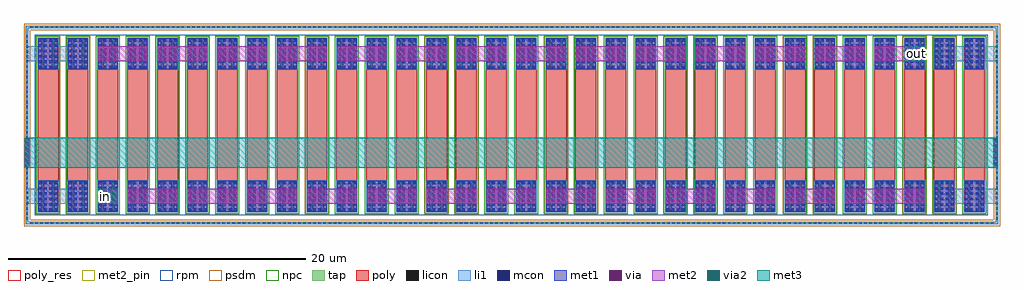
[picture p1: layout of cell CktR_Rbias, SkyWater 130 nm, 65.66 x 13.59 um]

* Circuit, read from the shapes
.subckt CktR_Rbias in out
XR1 VSUBS VSUBS VSUBS sky130_fd_pr__res_high_po w=1.41 l=7.48 m=4
XR2 n1 in VSUBS sky130_fd_pr__res_high_po w=1.41 l=7.48
XR3 n1 n2 VSUBS sky130_fd_pr__res_high_po w=1.41 l=7.48
XR4 n3 n2 VSUBS sky130_fd_pr__res_high_po w=1.41 l=7.48
XR5 n3 n4 VSUBS sky130_fd_pr__res_high_po w=1.41 l=7.48
XR6 n5 n4 VSUBS sky130_fd_pr__res_high_po w=1.41 l=7.48
XR7 n5 n6 VSUBS sky130_fd_pr__res_high_po w=1.41 l=7.48
XR8 n7 n6 VSUBS sky130_fd_pr__res_high_po w=1.41 l=7.48
XR9 n7 n8 VSUBS sky130_fd_pr__res_high_po w=1.41 l=7.48
XR10 n9 n8 VSUBS sky130_fd_pr__res_high_po w=1.41 l=7.48
XR11 n9 n10 VSUBS sky130_fd_pr__res_high_po w=1.41 l=7.48
XR12 n11 n10 VSUBS sky130_fd_pr__res_high_po w=1.41 l=7.48
XR13 n11 n12 VSUBS sky130_fd_pr__res_high_po w=1.41 l=7.48
XR14 n13 n12 VSUBS sky130_fd_pr__res_high_po w=1.41 l=7.48
XR15 n13 n14 VSUBS sky130_fd_pr__res_high_po w=1.41 l=7.48
XR16 n15 n14 VSUBS sky130_fd_pr__res_high_po w=1.41 l=7.48
XR17 n15 n16 VSUBS sky130_fd_pr__res_high_po w=1.41 l=7.48
XR18 n17 n16 VSUBS sky130_fd_pr__res_high_po w=1.41 l=7.48
XR19 n17 n18 VSUBS sky130_fd_pr__res_high_po w=1.41 l=7.48
XR20 n19 n18 VSUBS sky130_fd_pr__res_high_po w=1.41 l=7.48
XR21 n19 n20 VSUBS sky130_fd_pr__res_high_po w=1.41 l=7.48
XR22 n21 n20 VSUBS sky130_fd_pr__res_high_po w=1.41 l=7.48
XR23 n21 n22 VSUBS sky130_fd_pr__res_high_po w=1.41 l=7.48
XR24 n23 n22 VSUBS sky130_fd_pr__res_high_po w=1.41 l=7.48
XR25 n23 n24 VSUBS sky130_fd_pr__res_high_po w=1.41 l=7.48
XR26 n25 n24 VSUBS sky130_fd_pr__res_high_po w=1.41 l=7.48
XR27 n25 n26 VSUBS sky130_fd_pr__res_high_po w=1.41 l=7.48
XR28 out n26 VSUBS sky130_fd_pr__res_high_po w=1.41 l=7.48 m=2
.ends

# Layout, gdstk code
import gdstk
lib = gdstk.Library(unit=1e-6, precision=1e-09)
def R(c, l, rs):  # rectangles x0, y0, x1, y1
    for r in rs: c.add(gdstk.rectangle(r[:2], r[2:], *l))
def A(c, l, x, y, w, h, nx, ny, dx, dy):  # array of equal rectangles
    R(c, l, [(x+i*dx, y+j*dy, x+i*dx+w, y+j*dy+h) for i in range(nx) for j in range(ny)])
tap = (65, 44)
poly_res = (66, 13)
poly = (66, 20)
licon = (66, 44)
li1 = (67, 20)
mcon = (67, 44)
met1 = (68, 20)
via = (68, 44)
met2_pin = (69, 16)
met2 = (69, 20)
via2 = (69, 44)
met3 = (70, 20)
rpm = (86, 20)
psdm = (94, 20)
npc = (95, 20)

res_high_po_1p41 = lib.new_cell('res_high_po_1p41')
R(res_high_po_1p41, poly_res, [(-0.705,-3.8,0.705,3.8)])
R(res_high_po_1p41, poly, [(-0.705,-5.88,0.705,5.88)])
R(res_high_po_1p41, licon, [(-0.45,-5.8,-0.26,-3.8), (0.26,-5.8,0.45,-3.8), (-0.45,3.8,-0.26,5.8), (0.26,3.8,0.45,5.8)])
R(res_high_po_1p41, li1, [(-0.705,-5.88,0.705,-3.72), (-0.705,3.72,0.705,5.88)])
A(res_high_po_1p41, mcon, -0.625, -5.785, 0.17, 0.17, 4, 6, 0.36, 0.36)
A(res_high_po_1p41, mcon, -0.625, 3.81, 0.17, 0.17, 4, 6, 0.36, 0.36)
R(res_high_po_1p41, met1, [(-0.655,-5.85,0.655,-3.745), (-0.655,3.745,0.655,5.85)])
R(res_high_po_1p41, rpm, [(-0.905,-6.08,0.905,6.08)])
R(res_high_po_1p41, psdm, [(-0.815,-5.99,0.815,5.99)])
R(res_high_po_1p41, npc, [(-0.8,-5.975,0.8,5.975)])

m2m3_c_cdns_716484811064 = lib.new_cell('M2M3_C_CDNS_7164848110640')
R(m2m3_c_cdns_716484811064, met2, [(-0.145,-1,0.145,1)])
A(m2m3_c_cdns_716484811064, via2, -0.1, -0.9, 0.2, 0.2, 1, 5, 0, 0.4)
R(m2m3_c_cdns_716484811064, met3, [(-0.165,-1,0.165,1)])

m1m2_c_cdns_716484811063 = lib.new_cell('M1M2_C_CDNS_7164848110638')
R(m1m2_c_cdns_716484811063, met1, [(-0.145,-1,0.145,1)])
A(m1m2_c_cdns_716484811063, via, -0.075, -0.875, 0.15, 0.15, 1, 6, 0, 0.32)
R(m1m2_c_cdns_716484811063, met2, [(-0.145,-1,0.145,1)])

l1m1_c_cdns_716484811061 = lib.new_cell('L1M1_C_CDNS_71648481106106')
R(l1m1_c_cdns_716484811061, li1, [(-0.085,-1,0.085,1)])
A(l1m1_c_cdns_716484811061, mcon, -0.085, -0.805, 0.17, 0.17, 1, 5, 0, 0.36)
R(l1m1_c_cdns_716484811061, met1, [(-0.115,-1,0.115,1)])

m1m2_c_cdns_716484811061 = lib.new_cell('M1M2_C_CDNS_71648481106105')
R(m1m2_c_cdns_716484811061, met1, [(-0.655,-0.5,0.655,0.5)])
A(m1m2_c_cdns_716484811061, via, -0.555, -0.395, 0.15, 0.15, 4, 3, 0.32, 0.32)
R(m1m2_c_cdns_716484811061, met2, [(-0.655,-0.5,0.655,0.5)])

m2m3_c_cdns_716484811061 = lib.new_cell('M2M3_C_CDNS_71648481106104')
R(m2m3_c_cdns_716484811061, met2, [(-0.655,-0.5,0.655,0.5)])
A(m2m3_c_cdns_716484811061, via2, -0.5, -0.3, 0.2, 0.2, 3, 2, 0.4, 0.4)
R(m2m3_c_cdns_716484811061, met3, [(-0.655,-0.5,0.655,0.5)])

cktr_rbias = lib.new_cell('CktR_Rbias')
R(cktr_rbias, tap, [(0.125,0.125,65.53,0.295), (0.125,0.295,0.295,13.295), (65.36,0.295,65.53,13.295), (0.125,13.295,65.53,13.465)])
A(cktr_rbias, licon, 0.425, 0.125, 0.17, 0.17, 191, 2, 0.34, 13.17)
A(cktr_rbias, licon, 0.125, 0.425, 0.17, 0.17, 1, 37, 0, 0.34)
A(cktr_rbias, licon, 65.36, 0.425, 0.17, 0.17, 1, 37, 0, 0.34)
R(cktr_rbias, li1, [(0.125,0.125,65.53,0.295), (0.125,0.295,0.295,1.495), (65.36,0.295,65.53,1.495), (0.125,1.495,4.335,2.495), (61.215,1.495,65.53,2.495), (0.125,2.495,0.295,11.095), (65.36,2.495,65.53,11.095), (0.125,11.095,4.335,12.095), (61.215,11.095,65.53,12.095), (0.125,12.095,0.295,13.295), (65.36,12.095,65.53,13.295), (0.125,13.295,65.53,13.465)])
R(cktr_rbias, met2_pin, [(4.985,1.5,5.985,2.5), (59.565,11.095,60.565,12.095)])
A(cktr_rbias, met2, 6.995, 1.5, 3.32, 1, 12, 1, 4.02, 0)
A(cktr_rbias, met2, 4.985, 11.095, 3.32, 1, 14, 1, 4.02, 0)
R(cktr_rbias, met2, [(4.985,1.5,6.295,2.5), (55.235,1.5,60.565,2.5)])
R(cktr_rbias, met3, [(0.045,3.935,65.505,5.935)])
A(cktr_rbias, rpm, 2.525, 0.715, 0.2, 12.16, 31, 1, 2.01, 0)
R(cktr_rbias, psdm, [(0,0,65.655,0.42), (0,0.42,0.42,13.17), (65.235,0.42,65.655,13.17), (0,13.17,65.655,13.59)])
cktr_rbias.add(gdstk.Reference(res_high_po_1p41, (1.62,6.795)))
cktr_rbias.add(gdstk.Reference(m2m3_c_cdns_716484811064, (0.21,4.935)))
cktr_rbias.add(gdstk.Reference(m1m2_c_cdns_716484811063, (0.21,4.935)))
cktr_rbias.add(gdstk.Reference(l1m1_c_cdns_716484811061, (0.21,4.935)))
cktr_rbias.add(gdstk.Reference(res_high_po_1p41, (3.63,6.795)))
cktr_rbias.add(gdstk.Reference(res_high_po_1p41, (5.64,6.795), x_reflection=True))
cktr_rbias.add(gdstk.Reference(m1m2_c_cdns_716484811061, (5.64,2)))
cktr_rbias.add(gdstk.Reference(m1m2_c_cdns_716484811061, (5.64,11.595)))
cktr_rbias.add(gdstk.Reference(m2m3_c_cdns_716484811061, (5.64,2)))
cktr_rbias.add(gdstk.Reference(res_high_po_1p41, (7.65,6.795)))
cktr_rbias.add(gdstk.Reference(m1m2_c_cdns_716484811061, (7.65,2)))
cktr_rbias.add(gdstk.Reference(m1m2_c_cdns_716484811061, (7.65,11.595)))
cktr_rbias.add(gdstk.Reference(res_high_po_1p41, (9.66,6.795), x_reflection=True))
cktr_rbias.add(gdstk.Reference(m1m2_c_cdns_716484811061, (9.66,2)))
cktr_rbias.add(gdstk.Reference(m1m2_c_cdns_716484811061, (9.66,11.595)))
cktr_rbias.add(gdstk.Reference(res_high_po_1p41, (11.67,6.795), x_reflection=True))
cktr_rbias.add(gdstk.Reference(m1m2_c_cdns_716484811061, (11.67,2)))
cktr_rbias.add(gdstk.Reference(m1m2_c_cdns_716484811061, (11.67,11.595)))
cktr_rbias.add(gdstk.Reference(res_high_po_1p41, (13.68,6.795), x_reflection=True))
cktr_rbias.add(gdstk.Reference(m1m2_c_cdns_716484811061, (13.68,2)))
cktr_rbias.add(gdstk.Reference(m1m2_c_cdns_716484811061, (13.68,11.595)))
cktr_rbias.add(gdstk.Reference(res_high_po_1p41, (15.69,6.795), x_reflection=True))
cktr_rbias.add(gdstk.Reference(m1m2_c_cdns_716484811061, (15.69,2)))
cktr_rbias.add(gdstk.Reference(m1m2_c_cdns_716484811061, (15.69,11.595)))
cktr_rbias.add(gdstk.Reference(res_high_po_1p41, (17.7,6.795)))
cktr_rbias.add(gdstk.Reference(m1m2_c_cdns_716484811061, (17.7,2)))
cktr_rbias.add(gdstk.Reference(m1m2_c_cdns_716484811061, (17.7,11.595)))
cktr_rbias.add(gdstk.Reference(res_high_po_1p41, (19.71,6.795), x_reflection=True))
cktr_rbias.add(gdstk.Reference(m1m2_c_cdns_716484811061, (19.71,2)))
cktr_rbias.add(gdstk.Reference(m1m2_c_cdns_716484811061, (19.71,11.595)))
cktr_rbias.add(gdstk.Reference(res_high_po_1p41, (21.72,6.795)))
cktr_rbias.add(gdstk.Reference(m1m2_c_cdns_716484811061, (21.72,2)))
cktr_rbias.add(gdstk.Reference(m1m2_c_cdns_716484811061, (21.72,11.595)))
cktr_rbias.add(gdstk.Reference(res_high_po_1p41, (23.73,6.795), x_reflection=True))
cktr_rbias.add(gdstk.Reference(m1m2_c_cdns_716484811061, (23.73,2)))
cktr_rbias.add(gdstk.Reference(m1m2_c_cdns_716484811061, (23.73,11.595)))
cktr_rbias.add(gdstk.Reference(res_high_po_1p41, (25.74,6.795)))
cktr_rbias.add(gdstk.Reference(m1m2_c_cdns_716484811061, (25.74,2)))
cktr_rbias.add(gdstk.Reference(m1m2_c_cdns_716484811061, (25.74,11.595)))
cktr_rbias.add(gdstk.Reference(res_high_po_1p41, (27.75,6.795), x_reflection=True))
cktr_rbias.add(gdstk.Reference(m1m2_c_cdns_716484811061, (27.75,2)))
cktr_rbias.add(gdstk.Reference(m1m2_c_cdns_716484811061, (27.75,11.595)))
cktr_rbias.add(gdstk.Reference(res_high_po_1p41, (29.76,6.795)))
cktr_rbias.add(gdstk.Reference(m1m2_c_cdns_716484811061, (29.76,2)))
cktr_rbias.add(gdstk.Reference(m1m2_c_cdns_716484811061, (29.76,11.595)))
cktr_rbias.add(gdstk.Reference(res_high_po_1p41, (31.77,6.795), x_reflection=True))
cktr_rbias.add(gdstk.Reference(m1m2_c_cdns_716484811061, (31.77,2)))
cktr_rbias.add(gdstk.Reference(m1m2_c_cdns_716484811061, (31.77,11.595)))
cktr_rbias.add(gdstk.Reference(res_high_po_1p41, (33.78,6.795)))
cktr_rbias.add(gdstk.Reference(m1m2_c_cdns_716484811061, (33.78,2)))
cktr_rbias.add(gdstk.Reference(m1m2_c_cdns_716484811061, (33.78,11.595)))
cktr_rbias.add(gdstk.Reference(res_high_po_1p41, (35.79,6.795), x_reflection=True))
cktr_rbias.add(gdstk.Reference(m1m2_c_cdns_716484811061, (35.79,2)))
cktr_rbias.add(gdstk.Reference(m1m2_c_cdns_716484811061, (35.79,11.595)))
cktr_rbias.add(gdstk.Reference(res_high_po_1p41, (37.8,6.795)))
cktr_rbias.add(gdstk.Reference(m1m2_c_cdns_716484811061, (37.8,2)))
cktr_rbias.add(gdstk.Reference(m1m2_c_cdns_716484811061, (37.8,11.595)))
cktr_rbias.add(gdstk.Reference(res_high_po_1p41, (39.81,6.795), x_reflection=True))
cktr_rbias.add(gdstk.Reference(m1m2_c_cdns_716484811061, (39.81,2)))
cktr_rbias.add(gdstk.Reference(m1m2_c_cdns_716484811061, (39.81,11.595)))
cktr_rbias.add(gdstk.Reference(res_high_po_1p41, (41.82,6.795)))
cktr_rbias.add(gdstk.Reference(m1m2_c_cdns_716484811061, (41.82,2)))
cktr_rbias.add(gdstk.Reference(m1m2_c_cdns_716484811061, (41.82,11.595)))
cktr_rbias.add(gdstk.Reference(res_high_po_1p41, (43.83,6.795), x_reflection=True))
cktr_rbias.add(gdstk.Reference(m1m2_c_cdns_716484811061, (43.83,2)))
cktr_rbias.add(gdstk.Reference(m1m2_c_cdns_716484811061, (43.83,11.595)))
cktr_rbias.add(gdstk.Reference(res_high_po_1p41, (45.84,6.795)))
cktr_rbias.add(gdstk.Reference(m1m2_c_cdns_716484811061, (45.84,2)))
cktr_rbias.add(gdstk.Reference(m1m2_c_cdns_716484811061, (45.84,11.595)))
cktr_rbias.add(gdstk.Reference(res_high_po_1p41, (47.85,6.795), x_reflection=True))
cktr_rbias.add(gdstk.Reference(m1m2_c_cdns_716484811061, (47.85,2)))
cktr_rbias.add(gdstk.Reference(m1m2_c_cdns_716484811061, (47.85,11.595)))
cktr_rbias.add(gdstk.Reference(res_high_po_1p41, (49.86,6.795)))
cktr_rbias.add(gdstk.Reference(m1m2_c_cdns_716484811061, (49.86,2)))
cktr_rbias.add(gdstk.Reference(m1m2_c_cdns_716484811061, (49.86,11.595)))
cktr_rbias.add(gdstk.Reference(res_high_po_1p41, (51.87,6.795), x_reflection=True))
cktr_rbias.add(gdstk.Reference(m1m2_c_cdns_716484811061, (51.87,2)))
cktr_rbias.add(gdstk.Reference(m1m2_c_cdns_716484811061, (51.87,11.595)))
cktr_rbias.add(gdstk.Reference(res_high_po_1p41, (53.88,6.795)))
cktr_rbias.add(gdstk.Reference(m1m2_c_cdns_716484811061, (53.88,2)))
cktr_rbias.add(gdstk.Reference(m1m2_c_cdns_716484811061, (53.88,11.595)))
cktr_rbias.add(gdstk.Reference(res_high_po_1p41, (55.89,6.795), x_reflection=True))
cktr_rbias.add(gdstk.Reference(m1m2_c_cdns_716484811061, (55.89,2)))
cktr_rbias.add(gdstk.Reference(m1m2_c_cdns_716484811061, (55.89,11.595)))
cktr_rbias.add(gdstk.Reference(res_high_po_1p41, (57.9,6.795)))
cktr_rbias.add(gdstk.Reference(m1m2_c_cdns_716484811061, (57.9,2)))
cktr_rbias.add(gdstk.Reference(m1m2_c_cdns_716484811061, (57.9,11.595)))
cktr_rbias.add(gdstk.Reference(res_high_po_1p41, (59.91,6.795), x_reflection=True))
cktr_rbias.add(gdstk.Reference(m1m2_c_cdns_716484811061, (59.91,11.595)))
cktr_rbias.add(gdstk.Reference(m1m2_c_cdns_716484811061, (59.91,2)))
cktr_rbias.add(gdstk.Reference(m2m3_c_cdns_716484811061, (59.91,11.595)))
cktr_rbias.add(gdstk.Reference(res_high_po_1p41, (61.92,6.795)))
cktr_rbias.add(gdstk.Reference(res_high_po_1p41, (63.93,6.795)))
cktr_rbias.add(gdstk.Reference(m2m3_c_cdns_716484811064, (65.34,4.935)))
cktr_rbias.add(gdstk.Reference(m1m2_c_cdns_716484811063, (65.34,4.935)))
cktr_rbias.add(gdstk.Reference(l1m1_c_cdns_716484811061, (65.34,4.935)))
cktr_rbias.add(gdstk.Label('out', (60.065,11.595), layer=69, texttype=5))
cktr_rbias.add(gdstk.Label('in', (5.485,2), layer=69, texttype=5))

lib.write_gds('CktR_Rbias.gds')
